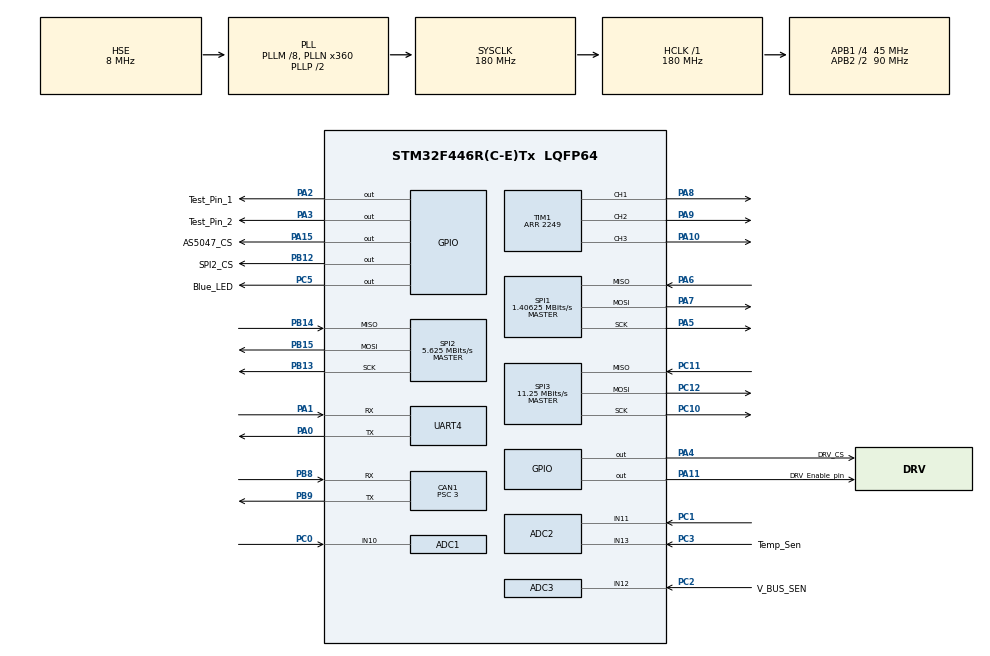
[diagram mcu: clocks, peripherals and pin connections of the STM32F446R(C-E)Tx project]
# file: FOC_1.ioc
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ADC1.Channel-0\#ChannelRegularConversion=ADC_CHANNEL_10
ADC1.Channel-1\#ChannelInjectedConversion=ADC_CHANNEL_10
ADC1.ClockPrescaler=ADC_CLOCK_SYNC_PCLK_DIV4
ADC1.ExternalTrigInjecConv=ADC_EXTERNALTRIGINJECCONV_T1_TRGO
ADC1.InjNumberOfConversion=1
ADC1.InjectedOffset-1\#ChannelInjectedConversion=0
ADC1.InjectedRank-1\#ChannelInjectedConversion=1
ADC1.Mode=__NULL
ADC1.NbrOfConversion=1
ADC1.NbrOfConversionFlag=1
ADC1.Rank-0\#ChannelRegularConversion=1
ADC1.SamplingTime-0\#ChannelRegularConversion=ADC_SAMPLETIME_3CYCLES
ADC1.SamplingTime-1\#ChannelInjectedConversion=ADC_SAMPLETIME_3CYCLES
ADC1.master=1
ADC2.Channel-0\#ChannelRegularConversion=ADC_CHANNEL_11
ADC2.Channel-1\#ChannelInjectedConversion=ADC_CHANNEL_11
ADC2.ClockPrescaler=ADC_CLOCK_SYNC_PCLK_DIV4
ADC2.DataAlign=ADC_DATAALIGN_RIGHT
ADC2.ExternalTrigInjecConv=ADC_EXTERNALTRIGINJECCONV_T1_TRGO
ADC2.InjNumberOfConversion=1
ADC2.InjectedConvMode=None
ADC2.InjectedOffset-1\#ChannelInjectedConversion=0
ADC2.InjectedRank-1\#ChannelInjectedConversion=1
ADC2.NbrOfConversion=1
ADC2.NbrOfConversionFlag=1
ADC2.Rank-0\#ChannelRegularConversion=1
ADC2.SamplingTime-0\#ChannelRegularConversion=ADC_SAMPLETIME_3CYCLES
ADC2.SamplingTime-1\#ChannelInjectedConversion=ADC_SAMPLETIME_3CYCLES
ADC3.Channel-0\#ChannelRegularConversion=ADC_CHANNEL_12
ADC3.InjNumberOfConversion=0
ADC3.NbrOfConversion=1
ADC3.NbrOfConversionFlag=1
ADC3.Rank-0\#ChannelRegularConversion=1
ADC3.SamplingTime-0\#ChannelRegularConversion=ADC_SAMPLETIME_3CYCLES
CAN1.BS1=CAN_BS1_10TQ
CAN1.BS2=CAN_BS2_4TQ
CAN1.CalculateBaudRate=1000000
CAN1.CalculateTimeBit=1000
CAN1.CalculateTimeQuantum=66.66666666666666
CAN1.NART=ENABLE
CAN1.Prescaler=3
CAN1.SJW=CAN_SJW_4TQ
Mcu.Family=STM32F4
Mcu.Name=STM32F446R(C-E)Tx
Mcu.Package=LQFP64
NVIC.ADC_IRQn=true\:1\:0\:true\:false\:true\:true\:true\:true
NVIC.CAN1_RX0_IRQn=true\:2\:0\:true\:false\:true\:true\:true\:true
NVIC.PriorityGroup=NVIC_PRIORITYGROUP_4
NVIC.TIM1_UP_TIM10_IRQn=true\:0\:0\:false\:false\:true\:true\:true\:true
NVIC.UART4_IRQn=true\:3\:0\:true\:false\:true\:true\:true\:true
PA0-WKUP.Mode=Asynchronous
PA0-WKUP.Signal=UART4_TX
PA1.Mode=Asynchronous
PA1.Signal=UART4_RX
PA10.Signal=S_TIM1_CH3
PA11.GPIO_Label=DRV_Enable_pin
PA11.GPIO_Speed=GPIO_SPEED_FREQ_VERY_HIGH
PA11.Signal=GPIO_Output
PA13.Mode=Serial_Wire
PA13.Signal=SYS_JTMS-SWDIO
PA14.Mode=Serial_Wire
PA14.Signal=SYS_JTCK-SWCLK
PA15.GPIO_Label=AS5047_CS
PA15.GPIO_Speed=GPIO_SPEED_FREQ_VERY_HIGH
PA15.PinState=GPIO_PIN_SET
PA15.Signal=GPIO_Output
PA2.GPIO_Label=Test_Pin_1
PA2.GPIO_Speed=GPIO_SPEED_FREQ_VERY_HIGH
PA2.Signal=GPIO_Output
PA3.GPIO_Label=Test_Pin_2
PA3.GPIO_Speed=GPIO_SPEED_FREQ_VERY_HIGH
PA3.Signal=GPIO_Output
PA4.GPIO_Label=DRV_CS
PA4.GPIO_PuPd=GPIO_PULLUP
PA4.GPIO_Speed=GPIO_SPEED_FREQ_VERY_HIGH
PA4.PinState=GPIO_PIN_SET
PA4.Signal=GPIO_Output
PA5.Mode=Full_Duplex_Master
PA5.Signal=SPI1_SCK
PA6.Mode=Full_Duplex_Master
PA6.Signal=SPI1_MISO
PA7.Mode=Full_Duplex_Master
PA7.Signal=SPI1_MOSI
PA8.Signal=S_TIM1_CH1
PA9.Signal=S_TIM1_CH2
PB12.GPIO_Label=SPI2_CS
PB12.Signal=GPIO_Output
PB13.Mode=Full_Duplex_Master
PB13.Signal=SPI2_SCK
PB14.Mode=Full_Duplex_Master
PB14.Signal=SPI2_MISO
PB15.Mode=Full_Duplex_Master
PB15.Signal=SPI2_MOSI
PB8.Mode=CAN_Activate
PB8.Signal=CAN1_RX
PB9.Mode=CAN_Activate
PB9.Signal=CAN1_TX
PC0.Signal=ADCx_IN10
PC1.Signal=ADCx_IN11
PC10.Mode=Full_Duplex_Master
PC10.Signal=SPI3_SCK
PC11.Mode=Full_Duplex_Master
PC11.Signal=SPI3_MISO
PC12.Mode=Full_Duplex_Master
PC12.Signal=SPI3_MOSI
PC2.GPIO_Label=V_BUS_SEN
PC2.Signal=ADCx_IN12
PC3.GPIO_Label=Temp_Sen
PC3.Signal=ADCx_IN13
PC5.GPIO_Label=Blue_LED
PC5.Signal=GPIO_Output
PH0-OSC_IN.Mode=HSE-External-Oscillator
PH0-OSC_IN.Signal=RCC_OSC_IN
PH1-OSC_OUT.Mode=HSE-External-Oscillator
PH1-OSC_OUT.Signal=RCC_OSC_OUT
ProjectManager.HeapSize=0x400
ProjectManager.StackSize=0x400
ProjectManager.TargetToolchain=STM32CubeIDE
RCC.AHBFreq_Value=180000000
RCC.APB1CLKDivider=RCC_HCLK_DIV4
RCC.APB1Freq_Value=45000000
RCC.APB1TimFreq_Value=90000000
RCC.APB2CLKDivider=RCC_HCLK_DIV2
RCC.APB2Freq_Value=90000000
RCC.APB2TimFreq_Value=180000000
RCC.CortexFreq_Value=180000000
RCC.HCLKFreq_Value=180000000
RCC.HSE_VALUE=8000000
RCC.PLLM=8
RCC.PLLN=360
RCC.PLLSourceVirtual=RCC_PLLSOURCE_HSE
RCC.SYSCLKFreq_VALUE=180000000
RCC.SYSCLKSource=RCC_SYSCLKSOURCE_PLLCLK
RCC.USBFreq_Value=180000000
RCC.VCOOutputFreq_Value=360000000
SH.ADCx_IN10.0=ADC1_IN10,IN10
SH.ADCx_IN11.0=ADC2_IN11,IN11
SH.ADCx_IN12.0=ADC3_IN12,IN12
SH.ADCx_IN13.0=ADC2_IN13,IN13
SH.S_TIM1_CH1.0=TIM1_CH1,PWM Generation1 CH1
SH.S_TIM1_CH2.0=TIM1_CH2,PWM Generation2 CH2
SH.S_TIM1_CH3.0=TIM1_CH3,PWM Generation3 CH3
SPI1.BaudRatePrescaler=SPI_BAUDRATEPRESCALER_64
SPI1.CLKPhase=SPI_PHASE_2EDGE
SPI1.CalculateBaudRate=1.40625 MBits/s
SPI1.DataSize=SPI_DATASIZE_16BIT
SPI1.Direction=SPI_DIRECTION_2LINES
SPI1.Mode=SPI_MODE_MASTER
SPI1.VirtualType=VM_MASTER
SPI2.BaudRatePrescaler=SPI_BAUDRATEPRESCALER_8
SPI2.CLKPhase=SPI_PHASE_2EDGE
SPI2.CalculateBaudRate=5.625 MBits/s
SPI2.DataSize=SPI_DATASIZE_16BIT
SPI2.Direction=SPI_DIRECTION_2LINES
SPI2.Mode=SPI_MODE_MASTER
SPI2.VirtualType=VM_MASTER
SPI3.BaudRatePrescaler=SPI_BAUDRATEPRESCALER_4
SPI3.CLKPhase=SPI_PHASE_2EDGE
SPI3.CalculateBaudRate=11.25 MBits/s
SPI3.DataSize=SPI_DATASIZE_16BIT
SPI3.Direction=SPI_DIRECTION_2LINES
SPI3.Mode=SPI_MODE_MASTER
SPI3.VirtualType=VM_MASTER
TIM1.AutoReloadPreload=TIM_AUTORELOAD_PRELOAD_ENABLE
TIM1.Channel-PWM\ Generation1\ CH1=TIM_CHANNEL_1
TIM1.Channel-PWM\ Generation2\ CH2=TIM_CHANNEL_2
TIM1.Channel-PWM\ Generation3\ CH3=TIM_CHANNEL_3
TIM1.Channel-PWM\ Generation4\ No\ Output=TIM_CHANNEL_4
TIM1.CounterMode=TIM_COUNTERMODE_CENTERALIGNED1
TIM1.OCMode_PWM-PWM\ Generation4\ No\ Output=TIM_OCMODE_PWM2
TIM1.Period=2249
TIM1.RepetitionCounter=1
TIM1.TIM_MasterOutputTrigger=TIM_TRGO_OC4REF
UART4.OverSampling=UART_OVERSAMPLING_16
UART4.VirtualMode=Asynchronous
VP_ADC1_Vref_Input.Mode=IN-Vrefint
VP_TIM1_VS_ClockSourceINT.Mode=Internal
VP_TIM1_VS_no_output4.Mode=PWM Generation4 No Output
board=custom

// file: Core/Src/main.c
/* USER CODE BEGIN Header */
/**
  ******************************************************************************
  * @file           : main.c
  * @brief          : Main program body
  ******************************************************************************
  * @attention

  * Copyright (c) 2023 STMicroelectronics.
  * All rights reserved.
  *
  * This software is licensed under terms that can be found in the LICENSE file
  * in the root directory of this software component.
  * If no LICENSE file comes with this software, it is provided AS-IS.
  *
  ******************************************************************************
  */
/* USER CODE END Header */
#include "main.h"
#include "adc.h"
#include "can.h"
#include "spi.h"
#include "tim.h"
#include "usart.h"
#include "gpio.h"

/* USER CODE BEGIN Includes */
#include "SEGGER_SYSVIEW.h"
#include "stdlib.h"
#include "stm32f4xx_ll_gpio.h"
#include "string.h"
#include "task.h"
#include "usr_delay.h"
/* USER CODE END Includes */

void SystemClock_Config(void);

int main(void)
{

  /* MCU Configuration--------------------------------------------------------*/

  /* Reset of all peripherals, Initializes the Flash interface and the Systick. */
  HAL_Init();

  /* Configure the system clock */
  SystemClock_Config();

  /* Initialize all configured peripherals */
  MX_GPIO_Init();
  MX_ADC1_Init();
  MX_ADC2_Init();
  MX_CAN1_Init();
  MX_SPI1_Init();
  MX_SPI3_Init();
  MX_TIM1_Init();
  MX_UART4_Init();
  MX_SPI2_Init();
  MX_ADC3_Init();
  /* USER CODE BEGIN 2 */

  /* LW
   * Configure Systick Interrupt to 2000 hz
   * Reconfigure the IRQn Priority
   */
  HAL_SYSTICK_Config(SystemCoreClock / (uint16_t)2000);
  HAL_NVIC_SetPriority(SysTick_IRQn, TICK_INT_PRIORITY, 0);
  delay_init();
  Init_System();
#ifdef DEBUG
  SEGGER_SYSVIEW_Conf();
#endif
  /* USER CODE END 2 */

  /* Infinite loop */
  while (1)
  {

    /* USER CODE BEGIN 3 */
    Main_Loop();
#ifdef DEBUG
    //SEGGER_SYSVIEW_OnIdle();
#endif
  }
  /* USER CODE END 3 */
}

void SystemClock_Config(void)
{
  RCC_OscInitTypeDef RCC_OscInitStruct = {0};
  RCC_ClkInitTypeDef RCC_ClkInitStruct = {0};

  /** Configure the main internal regulator output voltage
  */
  __HAL_RCC_PWR_CLK_ENABLE();
  __HAL_PWR_VOLTAGESCALING_CONFIG(PWR_REGULATOR_VOLTAGE_SCALE1);

  /** Initializes the RCC Oscillators according to the specified parameters
  * in the RCC_OscInitTypeDef structure.
  */
  RCC_OscInitStruct.OscillatorType = RCC_OSCILLATORTYPE_HSE;
  RCC_OscInitStruct.HSEState = RCC_HSE_ON;
  RCC_OscInitStruct.PLL.PLLState = RCC_PLL_ON;
  RCC_OscInitStruct.PLL.PLLSource = RCC_PLLSOURCE_HSE;
  RCC_OscInitStruct.PLL.PLLM = 8;
  RCC_OscInitStruct.PLL.PLLN = 360;
  RCC_OscInitStruct.PLL.PLLP = RCC_PLLP_DIV2;
  RCC_OscInitStruct.PLL.PLLQ = 2;
  RCC_OscInitStruct.PLL.PLLR = 2;
  if (HAL_RCC_OscConfig(&RCC_OscInitStruct) != HAL_OK)
  {
    Error_Handler();
  }

  /** Activate the Over-Drive mode
  */
  if (HAL_PWREx_EnableOverDrive() != HAL_OK)
  {
    Error_Handler();
  }

  /** Initializes the CPU, AHB and APB buses clocks
  */
  RCC_ClkInitStruct.ClockType = RCC_CLOCKTYPE_HCLK|RCC_CLOCKTYPE_SYSCLK
                              |RCC_CLOCKTYPE_PCLK1|RCC_CLOCKTYPE_PCLK2;
  RCC_ClkInitStruct.SYSCLKSource = RCC_SYSCLKSOURCE_PLLCLK;
  RCC_ClkInitStruct.AHBCLKDivider = RCC_SYSCLK_DIV1;
  RCC_ClkInitStruct.APB1CLKDivider = RCC_HCLK_DIV4;
  RCC_ClkInitStruct.APB2CLKDivider = RCC_HCLK_DIV2;

  if (HAL_RCC_ClockConfig(&RCC_ClkInitStruct, FLASH_LATENCY_5) != HAL_OK)
  {
    Error_Handler();
  }
}

void Error_Handler(void)
{
  __disable_irq();
  while (1)
  {
  }
}
